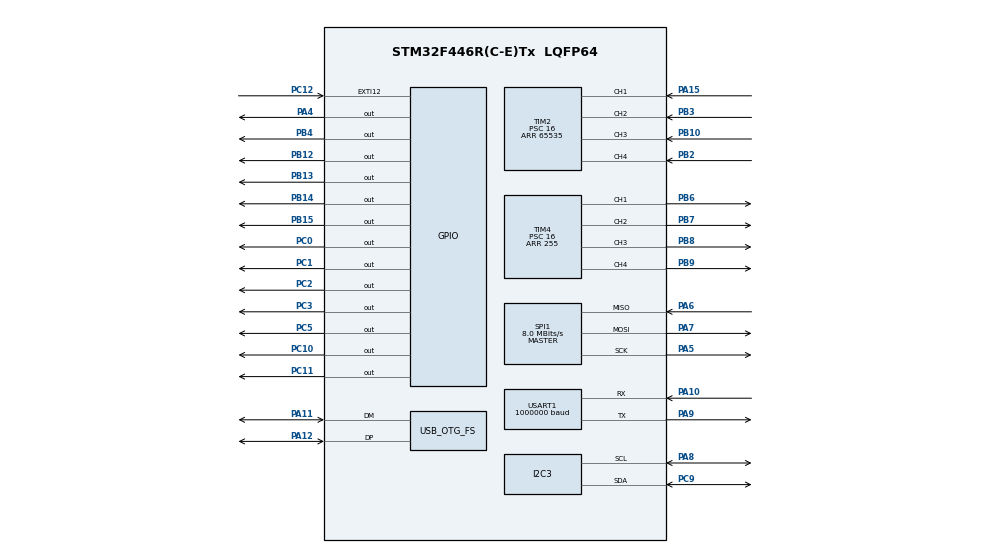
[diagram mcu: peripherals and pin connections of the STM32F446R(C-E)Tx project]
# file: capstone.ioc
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Mcu.Family=STM32F4
Mcu.Name=STM32F446R(C-E)Tx
Mcu.Package=LQFP64
NVIC.OTG_FS_IRQn=true\:0\:0\:false\:false\:true\:false\:true\:true
NVIC.PriorityGroup=NVIC_PRIORITYGROUP_4
NVIC.TIM1_UP_TIM10_IRQn=true\:0\:0\:false\:false\:true\:true\:true\:true
NVIC.TIM2_IRQn=true\:0\:0\:false\:false\:true\:true\:true\:true
NVIC.TIM7_IRQn=true\:0\:0\:false\:false\:true\:true\:true\:true
NVIC.TIM8_UP_TIM13_IRQn=true\:0\:0\:false\:false\:true\:true\:true\:true
PA10.Mode=Asynchronous
PA10.Signal=USART1_RX
PA11.Mode=Device_Only
PA11.Signal=USB_OTG_FS_DM
PA12.Mode=Device_Only
PA12.Signal=USB_OTG_FS_DP
PA13.Mode=Serial_Wire
PA13.Signal=SYS_JTMS-SWDIO
PA14.Mode=Serial_Wire
PA14.Signal=SYS_JTCK-SWCLK
PA15.Signal=S_TIM2_CH1_ETR
PA4.Signal=GPIO_Output
PA5.Mode=Full_Duplex_Master
PA5.Signal=SPI1_SCK
PA6.Mode=Full_Duplex_Master
PA6.Signal=SPI1_MISO
PA7.Mode=Full_Duplex_Master
PA7.Signal=SPI1_MOSI
PA8.Mode=I2C
PA8.Signal=I2C3_SCL
PA9.Mode=Asynchronous
PA9.Signal=USART1_TX
PB10.Signal=S_TIM2_CH3
PB12.Signal=GPIO_Output
PB13.Signal=GPIO_Output
PB14.Signal=GPIO_Output
PB15.Signal=GPIO_Output
PB2.Signal=S_TIM2_CH4
PB3.Signal=S_TIM2_CH2
PB4.Signal=GPIO_Output
PB6.Signal=S_TIM4_CH1
PB7.Signal=S_TIM4_CH2
PB8.Signal=S_TIM4_CH3
PB9.Signal=S_TIM4_CH4
PC0.Signal=GPIO_Output
PC1.Signal=GPIO_Output
PC10.Signal=GPIO_Output
PC11.Signal=GPIO_Output
PC12.Signal=GPXTI12
PC2.Signal=GPIO_Output
PC3.Signal=GPIO_Output
PC5.Signal=GPIO_Output
PC9.Mode=I2C
PC9.Signal=I2C3_SDA
PH0-OSC_IN.Mode=HSE-External-Clock-Source
PH0-OSC_IN.Signal=RCC_OSC_IN
PH1-OSC_OUT.Mode=HSE-External-Clock-Source
PH1-OSC_OUT.Signal=RCC_OSC_OUT
ProjectManager.HeapSize=0x200
ProjectManager.StackSize=0x400
ProjectManager.TargetToolchain=STM32CubeIDE
RCC.CortexFreq_Value=16000000
RCC.HSE_VALUE=12000000
RCC.PLLM=24
RCC.PLLN=216
RCC.PLLQ=3
RCC.PLLSourceVirtualString=RCC_PLLSOURCE_HSI
RCC.USBFreq_Value=48000000
RCC.VCOOutputFreq_Value=144000000
SH.S_TIM2_CH1_ETR.0=TIM2_CH1,Input_Capture1_from_TI1
SH.S_TIM2_CH2.0=TIM2_CH2,Input_Capture2_from_TI2
SH.S_TIM2_CH3.0=TIM2_CH3,Input_Capture3_from_TI3
SH.S_TIM2_CH4.0=TIM2_CH4,Input_Capture4_from_TI4
SH.S_TIM4_CH1.0=TIM4_CH1,PWM Generation1 CH1
SH.S_TIM4_CH2.0=TIM4_CH2,PWM Generation2 CH2
SH.S_TIM4_CH3.0=TIM4_CH3,PWM Generation3 CH3
SH.S_TIM4_CH4.0=TIM4_CH4,PWM Generation4 CH4
SPI1.CalculateBaudRate=8.0 MBits/s
SPI1.Direction=SPI_DIRECTION_2LINES
SPI1.Mode=SPI_MODE_MASTER
SPI1.VirtualType=VM_MASTER
TIM10.Period=800
TIM10.Prescaler=100
TIM13.Period=800
TIM13.Prescaler=200
TIM14.Prescaler=16
TIM2.Channel-Input_Capture1_from_TI1=TIM_CHANNEL_1
TIM2.Channel-Input_Capture2_from_TI2=TIM_CHANNEL_2
TIM2.Channel-Input_Capture3_from_TI3=TIM_CHANNEL_3
TIM2.Channel-Input_Capture4_from_TI4=TIM_CHANNEL_4
TIM2.Period=65535
TIM2.Prescaler=16
TIM4.Channel-PWM\ Generation1\ CH1=TIM_CHANNEL_1
TIM4.Channel-PWM\ Generation2\ CH2=TIM_CHANNEL_2
TIM4.Channel-PWM\ Generation3\ CH3=TIM_CHANNEL_3
TIM4.Channel-PWM\ Generation4\ CH4=TIM_CHANNEL_4
TIM4.Period=255
TIM4.Prescaler=16
TIM7.Period=800
TIM7.Prescaler=100
USART1.BaudRate=1000000
USART1.VirtualMode=VM_ASYNC
USB_DEVICE.CLASS_NAME_FS=CDC
USB_DEVICE.VirtualMode-CDC_FS=Cdc
USB_DEVICE.VirtualModeFS=Cdc_FS
USB_OTG_FS.VirtualMode=Device_Only
VP_TIM10_VS_ClockSourceINT.Mode=Enable_Timer
VP_TIM13_VS_ClockSourceINT.Mode=Enable_Timer
VP_TIM14_VS_ClockSourceINT.Mode=Enable_Timer
VP_TIM1_VS_ClockSourceINT.Mode=Internal
VP_TIM2_VS_ClockSourceINT.Mode=Internal
VP_TIM7_VS_ClockSourceINT.Mode=Enable_Timer
VP_USB_DEVICE_VS_USB_DEVICE_CDC_FS.Mode=CDC_FS
board=custom

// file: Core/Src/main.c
/* USER CODE BEGIN Header */
/**
  ******************************************************************************
  * @file           : main.c
  * @brief          : Main program body
  ******************************************************************************
  * @attention
  *
  * Copyright (c) 2024 STMicroelectronics.
  * All rights reserved.
  *
  * This software is licensed under terms that can be found in the LICENSE file
  * in the root directory of this software component.
  * If no LICENSE file comes with this software, it is provided AS-IS.
  *
  ******************************************************************************
  */
/* USER CODE END Header */
#include "main.h"
#include "usb_device.h"

/* USER CODE BEGIN Includes */

#include "string.h"
#include "usbd_cdc_if.h"
#include <math.h>
#include "accelerometer.h"
/* USER CODE END Includes */

/* USER CODE BEGIN PD */

#define UART_TRANSMIT_TIMEOUT 1000  // 1 second in milliseconds
#define UART_RECEIVE_TIMEOUT  1000  // 1 second in milliseconds

/* USER CODE END PD */

I2C_HandleTypeDef hi2c3;

SPI_HandleTypeDef hspi1;

TIM_HandleTypeDef htim1;
TIM_HandleTypeDef htim2;
TIM_HandleTypeDef htim4;
TIM_HandleTypeDef htim7;
TIM_HandleTypeDef htim10;
TIM_HandleTypeDef htim13;
TIM_HandleTypeDef htim14;

UART_HandleTypeDef huart1;

/* USER CODE BEGIN PV */
#define TRIG_PIN_1 GPIO_PIN_0
#define TRIG_PORT_1 GPIOC
#define TRIG_PIN_2 GPIO_PIN_1
#define TRIG_PORT_2 GPIOC
#define TRIG_PIN_3 GPIO_PIN_2
#define TRIG_PORT_3 GPIOC
#define TRIG_PIN_4 GPIO_PIN_3
#define TRIG_PORT_4 GPIOC

uint32_t IC_Val1_Left = 0;
uint32_t IC_Val2_Left = 0;
uint32_t IC_Val1_Right = 0;
uint32_t IC_Val2_Right = 0;
uint32_t IC_Val1_Front = 0;
uint32_t IC_Val2_Front = 0;
uint32_t IC_Val1_Back = 0;
uint32_t IC_Val2_Back = 0;
uint32_t Difference = 0;
uint8_t Is_First_Captured_1 = 0;  // is the first value captured
uint8_t Is_First_Captured_2 = 0;  // is the first value captured
uint8_t Is_First_Captured_3 = 0;  // is the first value captured
uint8_t Is_First_Captured_4 = 0;  // is the first value captured
float Distance_Left ;
float Distance_Right ;
float Distance_Back ;
float Distance_Front;
float avgDistLeft;
float avgDistRight;
float avgDistBack;
float avgDistFront;
uint8_t dataBuffer;

float temperature;
float yAcceleration;
float xAcceleration;
float zAcceleration;
float temp;
float roll;
float pitch;
float yaw;
float avgRoll;
float avgPitch;
float avgYaw;
float avgXAcceleration;
float avgYAcceleration;
float avgZAcceleration;
FIRFilter lpfAccZ;
FIRFilter lpfAccY;
FIRFilter lpfAccX;
FIRFilter lpfRoll;
FIRFilter lpfPitch;
FIRFilter lpfYaw;

gpio_Pin en_motor1 = { .gpioGroup = GPIOB, .gpioPin = GPIO_PIN_12 };
gpio_Pin en_motor2 = { .gpioGroup = GPIOB, .gpioPin = GPIO_PIN_13};
gpio_Pin en_motor3 = { .gpioGroup = GPIOB, .gpioPin = GPIO_PIN_14};
gpio_Pin en_motor4 = { .gpioGroup = GPIOB, .gpioPin = GPIO_PIN_15};
#define BUFFER_SIZE 128  // Adjust based on your needs

char data[BUFFER_SIZE];
uint8_t usbBuffer[128];

/* USER CODE END PV */

void SystemClock_Config(void);
static void MX_GPIO_Init(void);
static void MX_SPI1_Init(void);
static void MX_TIM1_Init(void);
static void MX_TIM2_Init(void);
static void MX_TIM4_Init(void);
static void MX_I2C3_Init(void);
static void MX_TIM7_Init(void);
static void MX_TIM14_Init(void);
static void MX_TIM10_Init(void);
static void MX_TIM13_Init(void);
static void MX_USART1_UART_Init(void);
/* USER CODE BEGIN PFP */
void stopMotors();
void left();
void right();
void forward();
void reverse();
uint8_t calculate_checksum(uint8_t *packet, int length);
void HCSR04_Read_Right();
void HCSR04_Read_Left();
void HCSR04_Read_Front();
void HCSR04_Read_Back();
void setServoPosition(uint8_t address, uint16_t position) ;

/* USER CODE END PFP */

/* USER CODE BEGIN 0 */
void HAL_TIM_PeriodElapsedCallback(TIM_HandleTypeDef *htim){
	if(htim == &htim7){
		accTask();
	}
	else if(htim == &htim10){
//		readGyro();
		readTemp();
	}
	else if(htim == &htim13){
//		HCSR04_Read_Back();
//		HCSR04_Read_Right();
//		HCSR04_Read_Left();
//		HCSR04_Read_Front();

	}
}

/*************************************************************
                      MOTOR CODE
**************************************************************/
//void motorInit(){
//	//motor timers start
//	HAL_TIM_Base_Start(&htim3);
//	HAL_TIM_PWM_Start(&htim3, TIM_CHANNEL_1);
//	HAL_TIM_PWM_Start(&htim3, TIM_CHANNEL_2);
//	HAL_TIM_PWM_Start(&htim3, TIM_CHANNEL_3);
//	HAL_TIM_PWM_Start(&htim3, TIM_CHANNEL_4);
//
//	htim3.Instance->CCR1 = 0; // M2 FWD
//	htim3.Instance->CCR2 = 0; // M2 REV
//	htim3.Instance->CCR3 = 0; // M1 FWD
//	htim3.Instance->CCR4 = 0; // M1 FWD
//
//	HAL_TIM_Base_Start(&htim4);
//	HAL_TIM_PWM_Start(&htim4, TIM_CHANNEL_1);
//	HAL_TIM_PWM_Start(&htim4, TIM_CHANNEL_2);
//	HAL_TIM_PWM_Start(&htim4, TIM_CHANNEL_3);
//	HAL_TIM_PWM_Start(&htim4, TIM_CHANNEL_4);
//
//	htim4.Instance->CCR1 = 0; // M3 FWD
//	htim4.Instance->CCR2 = 0; // M3 FWD
//	htim4.Instance->CCR3 = 0; //
//	htim4.Instance->CCR4 = 0; // M4 FWD
//}
//
//
//void forward(){
//	HAL_GPIO_WritePin(GPIOB, GPIO_PIN_12, GPIO_PIN_SET);  // en1
//	HAL_GPIO_WritePin(GPIOB, GPIO_PIN_13, GPIO_PIN_SET);  // en2
//	HAL_GPIO_WritePin(GPIOB, GPIO_PIN_14, GPIO_PIN_SET);  // en3
//	HAL_GPIO_WritePin(GPIOB, GPIO_PIN_15, GPIO_PIN_SET);  // en4
//
//	htim3.Instance->CCR1 = 150; // M2 FWD
//	htim3.Instance->CCR2 = 0; // M2 REV
//	htim3.Instance->CCR3 = 0; // M1 FWD
//	htim3.Instance->CCR4 = 0; // M1 REV
//
//	htim4.Instance->CCR1 = 150; // M3 FWD
//	htim4.Instance->CCR2 = 0; // M3 REV
//	htim4.Instance->CCR3 = 150; // M4 FWD
//	htim4.Instance->CCR4 = 0; // M4 REV
//}
//
//void reverse(){
//	HAL_GPIO_WritePin(GPIOB, GPIO_PIN_12, GPIO_PIN_SET);  // en1
//	HAL_GPIO_WritePin(GPIOB, GPIO_PIN_13, GPIO_PIN_SET);  // en2
//	HAL_GPIO_WritePin(GPIOB, GPIO_PIN_14, GPIO_PIN_SET);  // en3
//	HAL_GPIO_WritePin(GPIOB, GPIO_PIN_15, GPIO_PIN_SET);  // en4
//
//	htim3.Instance->CCR1 = 0; // M2 FWD
//	htim3.Instance->CCR2 = 150; // M2 REV
//	htim3.Instance->CCR3 = 0; // M1 FWD
//	htim3.Instance->CCR4 = 0; // M1 REV
//
//	htim4.Instance->CCR1 = 0; // M3 FWD
//	htim4.Instance->CCR2 = 150; // M3 REV
//	htim4.Instance->CCR3 = 0; // M4 FWD
//	htim4.Instance->CCR4 = 150; // M4 REV
//}
//
//void left(){
//	HAL_GPIO_WritePin(GPIOB, GPIO_PIN_12, GPIO_PIN_SET);  // en1
//	HAL_GPIO_WritePin(GPIOB, GPIO_PIN_13, GPIO_PIN_SET);  // en2
//	HAL_GPIO_WritePin(GPIOB, GPIO_PIN_14, GPIO_PIN_SET);  // en3
//	HAL_GPIO_WritePin(GPIOB, GPIO_PIN_15, GPIO_PIN_SET);  // en4
//
//	htim3.Instance->CCR1 = 0; // M2 FWD
//	htim3.Instance->CCR2 = 150; // M2 REV
//	htim3.Instance->CCR3 = 0; // M1 FWD
//	htim3.Instance->CCR4 = 0; // M1 REV
//
//	htim4.Instance->CCR1 = 150; // M3 FWD
//	htim4.Instance->CCR2 = 0; // M3 REV
//	htim4.Instance->CCR3 = 150; // M4 FWD
//	htim4.Instance->CCR4 = 0; // M4 REV
//}
//
//void right(){
//	HAL_GPIO_WritePin(GPIOB, GPIO_PIN_12, GPIO_PIN_SET);  // en1
//	HAL_GPIO_WritePin(GPIOB, GPIO_PIN_13, GPIO_PIN_SET);  // en2
//	HAL_GPIO_WritePin(GPIOB, GPIO_PIN_14, GPIO_PIN_SET);  // en3
//	HAL_GPIO_WritePin(GPIOB, GPIO_PIN_15, GPIO_PIN_SET);  // en4
//
//	htim3.Instance->CCR1 = 150; // M2 FWD
//	htim3.Instance->CCR2 = 0; // M2 REV
//	htim3.Instance->CCR3 = 150; // M1 FWD
//	htim3.Instance->CCR4 = 0; // M1 REV
//
//	htim4.Instance->CCR1 = 0; // M3 FWD
//	htim4.Instance->CCR2 = 150; // M3 REV
//	htim4.Instance->CCR3 = 0; // M4 FWD
//	htim4.Instance->CCR4 = 150; // M4 REV
//}
//
//void stopMotors(){
//	HAL_GPIO_WritePin(GPIOB, GPIO_PIN_12, GPIO_PIN_RESET);  // en1
//	HAL_GPIO_WritePin(GPIOB, GPIO_PIN_13, GPIO_PIN_RESET);  // en2
//	HAL_GPIO_WritePin(GPIOB, GPIO_PIN_14, GPIO_PIN_RESET);  // en3
//	HAL_GPIO_WritePin(GPIOB, GPIO_PIN_15, GPIO_PIN_RESET);  // en4
//
//	htim3.Instance->CCR1 = 0; // M2 FWD
//	htim3.Instance->CCR2 = 0; // M2 REV
//	htim3.Instance->CCR3 = 0; // M1 FWD
//	htim3.Instance->CCR4 = 0; // M1 REV
//
//	htim4.Instance->CCR1 = 0; // M3 FWD
//	htim4.Instance->CCR2 = 0; // M3 REV
//	htim4.Instance->CCR3 = 0; // M4 FWD
//	htim4.Instance->CCR4 = 0; // M4 REV
//}

/*************************************************************
                      SERVO CODE
**************************************************************/

/**
 *
 *
 * WRITING TO A REGISTER IS 0X03
 * ------------------------------------------------------------------------------------------------------
 *			HEADER			|	ID		|	LEN			|	INST	|	PARAM1	|	PARAM2	|	CHECKSUM
 * ------------------------------------------------------------------------------------------------------
 * 				|			|			|				|			|			|			|
 *		0XFF  	|	0XFF	|	0X??	|	PARAM + 2	|	 0X03	|	X19		|	0X01	|	0XDC
 *				|			|			|				|			|			|			|
 * ------------------------------------------------------------------------------------------------------
 * **/
uint8_t calculate_checksum(uint8_t *packet, int length) {
    unsigned int sum = 0;
    for(int i = 2; i < length - 1; i++) {  // Start from ID (skip 0xFF 0xFF)
        sum += packet[i];
    }
    return (uint8_t)(255 - (sum % 256));
}

void servoCommand(){
    uint8_t motors[] = {0x02, 0x06, 0x08};  // Array of motor IDs
    uint16_t motor2Angle = (usbBuffer[2]<<8) | usbBuffer[1];
    uint16_t motor6Angle = (usbBuffer[4]<<8) | usbBuffer[3];
    uint16_t motor8Angle = (usbBuffer[6]<<8) | usbBuffer[5];

    // Set positions for each motor
    setServoPosition(motors[0], motor2Angle);
    HAL_Delay(1);  // Small delay between commands
    setServoPosition(motors[1], motor6Angle);
    HAL_Delay(1);
    setServoPosition(motors[2], motor8Angle);
    return;
}

void setServoPosition(uint8_t address, uint16_t position) {
    uint8_t sendBuffer[9] = {0xFF, 0xFF, address, 0x05, 0x03, 0x1E,
                            position & 0xFF,        // Low byte
                            (position >> 8) & 0xFF, // High byte
                            0x00};
    sendBuffer[8] = calculate_checksum(sendBuffer, sizeof(sendBuffer));

    HAL_GPIO_WritePin(GPIOB, GPIO_PIN_4, GPIO_PIN_SET);
    HAL_UART_Transmit(&huart1, sendBuffer, sizeof(sendBuffer), 0xFFFF);
    HAL_GPIO_WritePin(GPIOB, GPIO_PIN_4, GPIO_PIN_RESET);
}

void turnServoLed(uint8_t address) {
    uint8_t sendBuffer[8]= {0xFF, 0xFF, address, 0x04, 0x03, 0x19, 0x01, 0x00};
    sendBuffer[7] = calculate_checksum(sendBuffer, sizeof(sendBuffer));

    HAL_GPIO_WritePin(GPIOB, GPIO_PIN_4, GPIO_PIN_SET);
    HAL_UART_Transmit(&huart1, sendBuffer, sizeof(sendBuffer), 0xFFFF);
    HAL_GPIO_WritePin(GPIOB, GPIO_PIN_4, GPIO_PIN_RESET);
}

void setCWAngleLimit(uint8_t address, uint16_t angle) {
    uint8_t sendBuffer[9] = {0xFF, 0xFF, address, 0x05, 0x03, 0x06,
                            angle & 0xFF,        // Low byte
                            (angle >> 8) & 0xFF, // High byte
                            0x00};
    sendBuffer[8] = calculate_checksum(sendBuffer, sizeof(sendBuffer));

    HAL_GPIO_WritePin(GPIOB, GPIO_PIN_4, GPIO_PIN_SET);
    HAL_UART_Transmit(&huart1, sendBuffer, sizeof(sendBuffer), 0xFFFF);
    HAL_GPIO_WritePin(GPIOB, GPIO_PIN_4, GPIO_PIN_RESET);
}

void setCCWAngleLimit(uint8_t address, uint16_t angle) {
    uint8_t sendBuffer[9] = {0xFF, 0xFF, address, 0x05, 0x03, 0x08,
                            angle & 0xFF,        // Low byte
                            (angle >> 8) & 0xFF, // High byte
                            0x00};
    sendBuffer[8] = calculate_checksum(sendBuffer, sizeof(sendBuffer));

    HAL_GPIO_WritePin(GPIOB, GPIO_PIN_4, GPIO_PIN_SET);
    HAL_UART_Transmit(&huart1, sendBuffer, sizeof(sendBuffer), 0xFFFF);
    HAL_GPIO_WritePin(GPIOB, GPIO_PIN_4, GPIO_PIN_RESET);
}

void setMovingSpeed(uint8_t address, uint16_t speed) {
    uint8_t sendBuffer[9] = {0xFF, 0xFF, address, 0x05, 0x03, 0x20,
                            speed & 0xFF,        // Low byte
                            (speed >> 8) & 0xFF, // High byte
                            0x00};
    sendBuffer[8] = calculate_checksum(sendBuffer, sizeof(sendBuffer));

    HAL_GPIO_WritePin(GPIOB, GPIO_PIN_4, GPIO_PIN_SET);
    HAL_UART_Transmit(&huart1, sendBuffer, sizeof(sendBuffer), 0xFFFF);
    HAL_GPIO_WritePin(GPIOB, GPIO_PIN_4, GPIO_PIN_RESET);
}

void setTorqueLimit(uint8_t address, uint16_t torque) {
    uint8_t sendBuffer[9] = {0xFF, 0xFF, address, 0x05, 0x03, 0x22,
                            torque & 0xFF,        // Low byte
                            (torque >> 8) & 0xFF, // High byte
                            0x00};
    sendBuffer[8] = calculate_checksum(sendBuffer, sizeof(sendBuffer));

    HAL_GPIO_WritePin(GPIOB, GPIO_PIN_4, GPIO_PIN_SET);
    HAL_UART_Transmit(&huart1, sendBuffer, sizeof(sendBuffer), 0xFFFF);
    HAL_GPIO_WritePin(GPIOB, GPIO_PIN_4, GPIO_PIN_RESET);
}

void setMaxTorque(uint8_t address, uint16_t maxTorque) {
    uint8_t sendBuffer[9] = {0xFF, 0xFF, address, 0x05, 0x03, 0x0E,
                            maxTorque & 0xFF,        // Low byte
                            (maxTorque >> 8) & 0xFF, // High byte
                            0x00};
    sendBuffer[8] = calculate_checksum(sendBuffer, sizeof(sendBuffer));

    HAL_GPIO_WritePin(GPIOB, GPIO_PIN_4, GPIO_PIN_SET);
    HAL_UART_Transmit(&huart1, sendBuffer, sizeof(sendBuffer), 0xFFFF);
    HAL_GPIO_WritePin(GPIOB, GPIO_PIN_4, GPIO_PIN_RESET);
}

void setTorqueEnable(uint8_t address, uint8_t enable) {
    uint8_t sendBuffer[8] = {0xFF, 0xFF, address, 0x04, 0x03, 0x18, enable, 0x00};
    sendBuffer[7] = calculate_checksum(sendBuffer, sizeof(sendBuffer));

    HAL_GPIO_WritePin(GPIOB, GPIO_PIN_4, GPIO_PIN_SET);
    HAL_UART_Transmit(&huart1, sendBuffer, sizeof(sendBuffer), 0xFFFF);
    HAL_GPIO_WritePin(GPIOB, GPIO_PIN_4, GPIO_PIN_RESET);
}

/*************************************************************
                      STEREOSENSOR CODE
**************************************************************/

static uint8_t Is_First_Captured_Front = 0;
static uint8_t Is_First_Captured_Right = 0;
static uint8_t Is_First_Captured_Left = 0;
static uint8_t Is_First_Captured_Back = 0;

void HAL_TIM_IC_CaptureCallback(TIM_HandleTypeDef* htim)
{
    uint32_t Difference = 0;

    // Front Sensor - Channel 1
    if (htim->Channel == HAL_TIM_ACTIVE_CHANNEL_1)
    {
        if (Is_First_Captured_Front == 0) // First rising edge
        {
            IC_Val1_Front = HAL_TIM_ReadCapturedValue(htim, TIM_CHANNEL_1);
            Is_First_Captured_Front = 1;
            // Change polarity to falling edge
            __HAL_TIM_SET_CAPTUREPOLARITY(htim, TIM_CHANNEL_1, TIM_INPUTCHANNELPOLARITY_FALLING);
        }
        else if (Is_First_Captured_Front == 1) // Falling edge
        {
            IC_Val2_Front = HAL_TIM_ReadCapturedValue(htim, TIM_CHANNEL_1);
            __HAL_TIM_SET_COUNTER(htim, 0);

            if (IC_Val2_Front > IC_Val1_Front)
                Difference = IC_Val2_Front - IC_Val1_Front;
            else if (IC_Val1_Front > IC_Val2_Front)
                Difference = (0xffff - IC_Val1_Front) + IC_Val2_Front;

            Distance_Front = (float)Difference * .034/2;
            Is_First_Captured_Front = 0;

            // Reset for next measurement
            __HAL_TIM_SET_CAPTUREPOLARITY(htim, TIM_CHANNEL_1, TIM_INPUTCHANNELPOLARITY_RISING);
            HAL_TIM_IC_Stop_IT(htim, TIM_CHANNEL_1);
        }
    }

    // Right Sensor - Channel 2
    else if (htim->Channel == HAL_TIM_ACTIVE_CHANNEL_2)
    {
        if (Is_First_Captured_Right == 0)
        {
            IC_Val1_Right = HAL_TIM_ReadCapturedValue(htim, TIM_CHANNEL_2);
            Is_First_Captured_Right = 1;
            __HAL_TIM_SET_CAPTUREPOLARITY(htim, TIM_CHANNEL_2, TIM_INPUTCHANNELPOLARITY_FALLING);
        }
        else if (Is_First_Captured_Right == 1)
        {
            IC_Val2_Right = HAL_TIM_ReadCapturedValue(htim, TIM_CHANNEL_2);
            __HAL_TIM_SET_COUNTER(htim, 0);

            if (IC_Val2_Right > IC_Val1_Right)
                Difference = IC_Val2_Right - IC_Val1_Right;
            else if (IC_Val1_Right > IC_Val2_Right)
                Difference = (0xffff - IC_Val1_Right) + IC_Val2_Right;

            Distance_Right = (float)Difference * .034/2;
            Is_First_Captured_Right = 0;

            __HAL_TIM_SET_CAPTUREPOLARITY(htim, TIM_CHANNEL_2, TIM_INPUTCHANNELPOLARITY_RISING);
            HAL_TIM_IC_Stop_IT(htim, TIM_CHANNEL_2);
        }
    }

    // Left Sensor - Channel 3
    else if (htim->Channel == HAL_TIM_ACTIVE_CHANNEL_3)
    {
        if (Is_First_Captured_Left == 0)
        {
            IC_Val1_Left = HAL_TIM_ReadCapturedValue(htim, TIM_CHANNEL_3);
            Is_First_Captured_Left = 1;
            __HAL_TIM_SET_CAPTUREPOLARITY(htim, TIM_CHANNEL_3, TIM_INPUTCHANNELPOLARITY_FALLING);
        }
        else if (Is_First_Captured_Left == 1)
        {
            IC_Val2_Left = HAL_TIM_ReadCapturedValue(htim, TIM_CHANNEL_3);
            __HAL_TIM_SET_COUNTER(htim, 0);

            if (IC_Val2_Left > IC_Val1_Left)
                Difference = IC_Val2_Left - IC_Val1_Left;
            else if (IC_Val1_Left > IC_Val2_Left)
                Difference = (0xffff - IC_Val1_Left) + IC_Val2_Left;

            Distance_Left = (float)Difference * .034/2;
            Is_First_Captured_Left = 0;

            __HAL_TIM_SET_CAPTUREPOLARITY(htim, TIM_CHANNEL_3, TIM_INPUTCHANNELPOLARITY_RISING);
            HAL_TIM_IC_Stop_IT(htim, TIM_CHANNEL_3);
        }
    }

    // Back Sensor - Channel 4
    else if (htim->Channel == HAL_TIM_ACTIVE_CHANNEL_4)
    {
        if (Is_First_Captured_Back == 0)
        {
            IC_Val1_Back = HAL_TIM_ReadCapturedValue(htim, TIM_CHANNEL_4);
            Is_First_Captured_Back = 1;
            __HAL_TIM_SET_CAPTUREPOLARITY(htim, TIM_CHANNEL_4, TIM_INPUTCHANNELPOLARITY_FALLING);
        }
        else if (Is_First_Captured_Back == 1)
        {
            IC_Val2_Back = HAL_TIM_ReadCapturedValue(htim, TIM_CHANNEL_4);
            __HAL_TIM_SET_COUNTER(htim, 0);

            if (IC_Val2_Back > IC_Val1_Back)
                Difference = IC_Val2_Back - IC_Val1_Back;
            else if (IC_Val1_Back > IC_Val2_Back)
                Difference = (0xffff - IC_Val1_Back) + IC_Val2_Back;

            Distance_Back = (float)Difference * .034/2;
            Is_First_Captured_Back = 0;

            __HAL_TIM_SET_CAPTUREPOLARITY(htim, TIM_CHANNEL_4, TIM_INPUTCHANNELPOLARITY_RISING);
            HAL_TIM_IC_Stop_IT(htim, TIM_CHANNEL_4);
        }
    }
}

float approxRollingAverage(float avg, float new, float weight){
  return (((weight - 1.0f) / weight) * avg) + ((1.0f / weight) * new);
}

void delay_us (uint16_t us)
{
  __HAL_TIM_SET_COUNTER(&htim14, 0);  // set the counter value a 0
  while (__HAL_TIM_GET_COUNTER(&htim14) < us);  // wait for the counter to reach the us input in the parameter
}

void HCSR04_Read_Front (void)
{
  HAL_GPIO_WritePin(TRIG_PORT_1, TRIG_PIN_1, GPIO_PIN_SET);  // pull the TRIG pin HIGH
  delay_us(10);  // wait for 10 us
  HAL_GPIO_WritePin(TRIG_PORT_1, TRIG_PIN_1, GPIO_PIN_RESET);  // pull the TRIG pin low
  HAL_TIM_IC_Start_IT(&htim2, TIM_CHANNEL_1);
}

void HCSR04_Read_Right (void)
{
  HAL_GPIO_WritePin(TRIG_PORT_2, TRIG_PIN_2, GPIO_PIN_SET);  // pull the TRIG pin HIGH
  delay_us(10);  // wait for 10 us
  HAL_GPIO_WritePin(TRIG_PORT_2, TRIG_PIN_2, GPIO_PIN_RESET);  // pull the TRIG pin low
  HAL_TIM_IC_Start_IT(&htim2, TIM_CHANNEL_2);
}

void HCSR04_Read_Left (void)
{
  HAL_GPIO_WritePin(TRIG_PORT_3, TRIG_PIN_3, GPIO_PIN_SET);  // pull the TRIG pin HIGH
  delay_us(10);  // wait for 10 us
  HAL_GPIO_WritePin(TRIG_PORT_3, TRIG_PIN_3, GPIO_PIN_RESET);  // pull the TRIG pin low
  HAL_TIM_IC_Start_IT(&htim2, TIM_CHANNEL_3);
}

void HCSR04_Read_Back (void)
{
  HAL_GPIO_WritePin(TRIG_PORT_4, TRIG_PIN_4, GPIO_PIN_SET);  // pull the TRIG pin HIGH
  delay_us(10);  // wait for 10 us
  HAL_GPIO_WritePin(TRIG_PORT_4, TRIG_PIN_4, GPIO_PIN_RESET);  // pull the TRIG pin low
  HAL_TIM_IC_Start_IT(&htim2, TIM_CHANNEL_4);
}

/* USER CODE END 0 */

int main(void)
{

  /* MCU Configuration--------------------------------------------------------*/

  /* Reset of all peripherals, Initializes the Flash interface and the Systick. */
  HAL_Init();

  /* Configure the system clock */
  SystemClock_Config();

  /* Initialize all configured peripherals */
  MX_GPIO_Init();
  MX_SPI1_Init();
  MX_TIM1_Init();
  MX_TIM2_Init();
  MX_TIM4_Init();
  MX_I2C3_Init();
  MX_TIM7_Init();
  MX_TIM14_Init();
  MX_TIM10_Init();
  MX_TIM13_Init();
  MX_USB_DEVICE_Init();
  MX_USART1_UART_Init();
  /* USER CODE BEGIN 2 */
  char rxBuffer[8];

  char txBuffer[8];

//  motorInit();
  accInit();
  firFilterInit(&lpfAccZ);
  firFilterInit(&lpfAccY);
  firFilterInit(&lpfAccX);

//  HAL_TIM_Base_Start(&htim14); // ultrasonic timing
  HAL_TIM_Base_Start_IT(&htim7); // accelerometer sampling timer
//  HAL_TIM_Base_Start_IT(&htim10); // gyro sampling timer
//  HAL_TIM_Base_Start_IT(&htim13); // ultrasonic sampling timer

  char * newData[64];
  int blink = 1;
  char * updated;
  uint8_t returnValue[6];

  uint8_t motors[] = {0x02, 0x06, 0x08};  // Array of motor IDs

  // Set limits for each motor
  for(int i = 0; i < 3; i++) {
      // Set CW (minimum) limit to 0
      setCWAngleLimit(motors[i], 0);
	  HAL_Delay (50);

      // Set CCW (maximum) limit to 1023 (300 degrees)
      setCCWAngleLimit(motors[i], 1023);
	  HAL_Delay (50);
      setTorqueLimit(motors[i], 1023);
	  HAL_Delay (50);
      setTorqueEnable(motors[i], 1);
	  HAL_Delay (50);
      setMaxTorque(motors[i], 1023);
	  HAL_Delay (50);
      setMovingSpeed(motors[i], 0x002F);
	  HAL_Delay (50);
  }

  /* USER CODE END 2 */

  /* Infinite loop */
  while (1)
  {

    /* USER CODE BEGIN 3 */
//	  for(int i = 0; i < 3; i++) {
//
//		  setTorqueEnable(motors[i], 1, returnValue);
//	  }
	  turnServoLed(0x06);
	  HAL_Delay (50);
	  turnServoLed(0x02);
	  HAL_Delay (50);
	  turnServoLed(0x08);
	  HAL_Delay (50);
	  //
	  int result;
	  memset(data, 0, BUFFER_SIZE);
	  result = snprintf(data, BUFFER_SIZE, "AvgX: %d.%02d, AvgY: %d.%02d, AvgZ: %d.%02d, F: %d.%02d, L: %d.%02d, R: %d.%02d, B: %d.%02d\n",
			  	  	  	 (int)avgXAcceleration,
			  	         (int)((avgXAcceleration - (int)avgXAcceleration) * 100),
			  	  	  	 (int)avgYAcceleration,
			  	         (int)((avgYAcceleration - (int)avgYAcceleration) * 100),
	                     (int)avgZAcceleration,
	                     (int)((avgZAcceleration - (int)avgZAcceleration) * 100),
	                     (int)Distance_Front,
	                     (int)((Distance_Front - (int)Distance_Front) * 100),
	                     (int)Distance_Left,
	                     (int)((Distance_Left - (int)Distance_Left) * 100),
	                     (int)Distance_Right,
	                     (int)((Distance_Right - (int)Distance_Right) * 100),
	                     (int)Distance_Back,
	                     (int)((Distance_Back - (int)Distance_Back) * 100));

	  CDC_Transmit_FS(data, sizeof(data));
	  HAL_Delay (1000);
  }
  /* USER CODE END 3 */
}

void SystemClock_Config(void)
{
  RCC_OscInitTypeDef RCC_OscInitStruct = {0};
  RCC_ClkInitTypeDef RCC_ClkInitStruct = {0};

  /** Configure the main internal regulator output voltage
  */
  __HAL_RCC_PWR_CLK_ENABLE();
  __HAL_PWR_VOLTAGESCALING_CONFIG(PWR_REGULATOR_VOLTAGE_SCALE3);

  /** Initializes the RCC Oscillators according to the specified parameters
  * in the RCC_OscInitTypeDef structure.
  */
  RCC_OscInitStruct.OscillatorType = RCC_OSCILLATORTYPE_HSI;
  RCC_OscInitStruct.HSIState = RCC_HSI_ON;
  RCC_OscInitStruct.HSICalibrationValue = RCC_HSICALIBRATION_DEFAULT;
  RCC_OscInitStruct.PLL.PLLState = RCC_PLL_ON;
  RCC_OscInitStruct.PLL.PLLSource = RCC_PLLSOURCE_HSI;
  RCC_OscInitStruct.PLL.PLLM = 24;
  RCC_OscInitStruct.PLL.PLLN = 216;
  RCC_OscInitStruct.PLL.PLLP = RCC_PLLP_DIV2;
  RCC_OscInitStruct.PLL.PLLQ = 3;
  RCC_OscInitStruct.PLL.PLLR = 2;
  if (HAL_RCC_OscConfig(&RCC_OscInitStruct) != HAL_OK)
  {
    Error_Handler();
  }

  /** Initializes the CPU, AHB and APB buses clocks
  */
  RCC_ClkInitStruct.ClockType = RCC_CLOCKTYPE_HCLK|RCC_CLOCKTYPE_SYSCLK
                              |RCC_CLOCKTYPE_PCLK1|RCC_CLOCKTYPE_PCLK2;
  RCC_ClkInitStruct.SYSCLKSource = RCC_SYSCLKSOURCE_HSI;
  RCC_ClkInitStruct.AHBCLKDivider = RCC_SYSCLK_DIV1;
  RCC_ClkInitStruct.APB1CLKDivider = RCC_HCLK_DIV1;
  RCC_ClkInitStruct.APB2CLKDivider = RCC_HCLK_DIV1;

  if (HAL_RCC_ClockConfig(&RCC_ClkInitStruct, FLASH_LATENCY_0) != HAL_OK)
  {
    Error_Handler();
  }
}

static void MX_I2C3_Init(void)
{

  hi2c3.Instance = I2C3;
  hi2c3.Init.ClockSpeed = 100000;
  hi2c3.Init.DutyCycle = I2C_DUTYCYCLE_2;
  hi2c3.Init.OwnAddress1 = 0;
  hi2c3.Init.AddressingMode = I2C_ADDRESSINGMODE_7BIT;
  hi2c3.Init.DualAddressMode = I2C_DUALADDRESS_DISABLE;
  hi2c3.Init.OwnAddress2 = 0;
  hi2c3.Init.GeneralCallMode = I2C_GENERALCALL_DISABLE;
  hi2c3.Init.NoStretchMode = I2C_NOSTRETCH_DISABLE;
  if (HAL_I2C_Init(&hi2c3) != HAL_OK)
  {
    Error_Handler();
  }

}

static void MX_SPI1_Init(void)
{

  /* SPI1 parameter configuration*/
  hspi1.Instance = SPI1;
  hspi1.Init.Mode = SPI_MODE_MASTER;
  hspi1.Init.Direction = SPI_DIRECTION_2LINES;
  hspi1.Init.DataSize = SPI_DATASIZE_8BIT;
  hspi1.Init.CLKPolarity = SPI_POLARITY_LOW;
  hspi1.Init.CLKPhase = SPI_PHASE_1EDGE;
  hspi1.Init.NSS = SPI_NSS_SOFT;
  hspi1.Init.BaudRatePrescaler = SPI_BAUDRATEPRESCALER_2;
  hspi1.Init.FirstBit = SPI_FIRSTBIT_MSB;
  hspi1.Init.TIMode = SPI_TIMODE_DISABLE;
  hspi1.Init.CRCCalculation = SPI_CRCCALCULATION_DISABLE;
  hspi1.Init.CRCPolynomial = 10;
  if (HAL_SPI_Init(&hspi1) != HAL_OK)
  {
    Error_Handler();
  }

}

static void MX_TIM1_Init(void)
{

  TIM_ClockConfigTypeDef sClockSourceConfig = {0};
  TIM_MasterConfigTypeDef sMasterConfig = {0};

  htim1.Instance = TIM1;
  htim1.Init.Prescaler = 0;
  htim1.Init.CounterMode = TIM_COUNTERMODE_UP;
  htim1.Init.Period = 65535;
  htim1.Init.ClockDivision = TIM_CLOCKDIVISION_DIV1;
  htim1.Init.RepetitionCounter = 0;
  htim1.Init.AutoReloadPreload = TIM_AUTORELOAD_PRELOAD_DISABLE;
  if (HAL_TIM_Base_Init(&htim1) != HAL_OK)
  {
    Error_Handler();
  }
  sClockSourceConfig.ClockSource = TIM_CLOCKSOURCE_INTERNAL;
  if (HAL_TIM_ConfigClockSource(&htim1, &sClockSourceConfig) != HAL_OK)
  {
    Error_Handler();
  }
  sMasterConfig.MasterOutputTrigger = TIM_TRGO_RESET;
  sMasterConfig.MasterSlaveMode = TIM_MASTERSLAVEMODE_DISABLE;
  if (HAL_TIMEx_MasterConfigSynchronization(&htim1, &sMasterConfig) != HAL_OK)
  {
    Error_Handler();
  }

}

static void MX_TIM2_Init(void)
{

  TIM_ClockConfigTypeDef sClockSourceConfig = {0};
  TIM_MasterConfigTypeDef sMasterConfig = {0};
  TIM_IC_InitTypeDef sConfigIC = {0};

  htim2.Instance = TIM2;
  htim2.Init.Prescaler = 16;
  htim2.Init.CounterMode = TIM_COUNTERMODE_UP;
  htim2.Init.Period = 65535;
  htim2.Init.ClockDivision = TIM_CLOCKDIVISION_DIV1;
  htim2.Init.AutoReloadPreload = TIM_AUTORELOAD_PRELOAD_DISABLE;
  if (HAL_TIM_Base_Init(&htim2) != HAL_OK)
  {
    Error_Handler();
  }
  sClockSourceConfig.ClockSource = TIM_CLOCKSOURCE_INTERNAL;
  if (HAL_TIM_ConfigClockSource(&htim2, &sClockSourceConfig) != HAL_OK)
  {
    Error_Handler();
  }
  if (HAL_TIM_IC_Init(&htim2) != HAL_OK)
  {
    Error_Handler();
  }
  sMasterConfig.MasterOutputTrigger = TIM_TRGO_RESET;
  sMasterConfig.MasterSlaveMode = TIM_MASTERSLAVEMODE_DISABLE;
  if (HAL_TIMEx_MasterConfigSynchronization(&htim2, &sMasterConfig) != HAL_OK)
  {
    Error_Handler();
  }
  sConfigIC.ICPolarity = TIM_INPUTCHANNELPOLARITY_RISING;
  sConfigIC.ICSelection = TIM_ICSELECTION_DIRECTTI;
  sConfigIC.ICPrescaler = TIM_ICPSC_DIV1;
  sConfigIC.ICFilter = 0;
  if (HAL_TIM_IC_ConfigChannel(&htim2, &sConfigIC, TIM_CHANNEL_1) != HAL_OK)
  {
    Error_Handler();
  }
  if (HAL_TIM_IC_ConfigChannel(&htim2, &sConfigIC, TIM_CHANNEL_2) != HAL_OK)
  {
    Error_Handler();
  }
  if (HAL_TIM_IC_ConfigChannel(&htim2, &sConfigIC, TIM_CHANNEL_3) != HAL_OK)
  {
    Error_Handler();
  }
  if (HAL_TIM_IC_ConfigChannel(&htim2, &sConfigIC, TIM_CHANNEL_4) != HAL_OK)
  {
    Error_Handler();
  }

}

static void MX_TIM4_Init(void)
{

  TIM_MasterConfigTypeDef sMasterConfig = {0};
  TIM_OC_InitTypeDef sConfigOC = {0};

  htim4.Instance = TIM4;
  htim4.Init.Prescaler = 16;
  htim4.Init.CounterMode = TIM_COUNTERMODE_UP;
  htim4.Init.Period = 255;
  htim4.Init.ClockDivision = TIM_CLOCKDIVISION_DIV1;
  htim4.Init.AutoReloadPreload = TIM_AUTORELOAD_PRELOAD_DISABLE;
  if (HAL_TIM_PWM_Init(&htim4) != HAL_OK)
  {
    Error_Handler();
  }
  sMasterConfig.MasterOutputTrigger = TIM_TRGO_RESET;
  sMasterConfig.MasterSlaveMode = TIM_MASTERSLAVEMODE_DISABLE;
  if (HAL_TIMEx_MasterConfigSynchronization(&htim4, &sMasterConfig) != HAL_OK)
  {
    Error_Handler();
  }
  sConfigOC.OCMode = TIM_OCMODE_PWM1;
  sConfigOC.Pulse = 0;
  sConfigOC.OCPolarity = TIM_OCPOLARITY_HIGH;
  sConfigOC.OCFastMode = TIM_OCFAST_DISABLE;
  if (HAL_TIM_PWM_ConfigChannel(&htim4, &sConfigOC, TIM_CHANNEL_1) != HAL_OK)
  {
    Error_Handler();
  }
  if (HAL_TIM_PWM_ConfigChannel(&htim4, &sConfigOC, TIM_CHANNEL_2) != HAL_OK)
  {
    Error_Handler();
  }
  if (HAL_TIM_PWM_ConfigChannel(&htim4, &sConfigOC, TIM_CHANNEL_3) != HAL_OK)
  {
    Error_Handler();
  }
  if (HAL_TIM_PWM_ConfigChannel(&htim4, &sConfigOC, TIM_CHANNEL_4) != HAL_OK)
  {
    Error_Handler();
  }
  HAL_TIM_MspPostInit(&htim4);

}

static void MX_TIM7_Init(void)
{

  TIM_MasterConfigTypeDef sMasterConfig = {0};

  htim7.Instance = TIM7;
  htim7.Init.Prescaler = 100;
  htim7.Init.CounterMode = TIM_COUNTERMODE_UP;
  htim7.Init.Period = 800;
  htim7.Init.AutoReloadPreload = TIM_AUTORELOAD_PRELOAD_DISABLE;
  if (HAL_TIM_Base_Init(&htim7) != HAL_OK)
  {
    Error_Handler();
  }
  sMasterConfig.MasterOutputTrigger = TIM_TRGO_RESET;
  sMasterConfig.MasterSlaveMode = TIM_MASTERSLAVEMODE_DISABLE;
  if (HAL_TIMEx_MasterConfigSynchronization(&htim7, &sMasterConfig) != HAL_OK)
  {
    Error_Handler();
  }

}

static void MX_TIM10_Init(void)
{

  htim10.Instance = TIM10;
  htim10.Init.Prescaler = 100;
  htim10.Init.CounterMode = TIM_COUNTERMODE_UP;
  htim10.Init.Period = 800;
  htim10.Init.ClockDivision = TIM_CLOCKDIVISION_DIV1;
  htim10.Init.AutoReloadPreload = TIM_AUTORELOAD_PRELOAD_DISABLE;
  if (HAL_TIM_Base_Init(&htim10) != HAL_OK)
  {
    Error_Handler();
  }

}

static void MX_TIM13_Init(void)
{

  htim13.Instance = TIM13;
  htim13.Init.Prescaler = 200;
  htim13.Init.CounterMode = TIM_COUNTERMODE_UP;
  htim13.Init.Period = 800;
  htim13.Init.ClockDivision = TIM_CLOCKDIVISION_DIV1;
  htim13.Init.AutoReloadPreload = TIM_AUTORELOAD_PRELOAD_DISABLE;
  if (HAL_TIM_Base_Init(&htim13) != HAL_OK)
  {
    Error_Handler();
  }

}

static void MX_TIM14_Init(void)
{

  htim14.Instance = TIM14;
  htim14.Init.Prescaler = 16;
  htim14.Init.CounterMode = TIM_COUNTERMODE_UP;
  htim14.Init.Period = 65535;
  htim14.Init.ClockDivision = TIM_CLOCKDIVISION_DIV1;
  htim14.Init.AutoReloadPreload = TIM_AUTORELOAD_PRELOAD_DISABLE;
  if (HAL_TIM_Base_Init(&htim14) != HAL_OK)
  {
    Error_Handler();
  }

}

static void MX_USART1_UART_Init(void)
{

  huart1.Instance = USART1;
  huart1.Init.BaudRate = 1000000;
  huart1.Init.WordLength = UART_WORDLENGTH_8B;
  huart1.Init.StopBits = UART_STOPBITS_1;
  huart1.Init.Parity = UART_PARITY_NONE;
  huart1.Init.Mode = UART_MODE_TX_RX;
  huart1.Init.HwFlowCtl = UART_HWCONTROL_NONE;
  huart1.Init.OverSampling = UART_OVERSAMPLING_16;
  if (HAL_UART_Init(&huart1) != HAL_OK)
  {
    Error_Handler();
  }

}

static void MX_GPIO_Init(void)
{
  GPIO_InitTypeDef GPIO_InitStruct = {0};

  /* GPIO Ports Clock Enable */
  __HAL_RCC_GPIOH_CLK_ENABLE();
  __HAL_RCC_GPIOC_CLK_ENABLE();
  __HAL_RCC_GPIOA_CLK_ENABLE();
  __HAL_RCC_GPIOB_CLK_ENABLE();

  /*Configure GPIO pin Output Level */
  HAL_GPIO_WritePin(GPIOC, GPIO_PIN_0|GPIO_PIN_1|GPIO_PIN_2|GPIO_PIN_3
                          |GPIO_PIN_5|GPIO_PIN_10|GPIO_PIN_11, GPIO_PIN_RESET);

  /*Configure GPIO pin Output Level */
  HAL_GPIO_WritePin(GPIOA, GPIO_PIN_4, GPIO_PIN_RESET);

  /*Configure GPIO pin Output Level */
  HAL_GPIO_WritePin(GPIOB, GPIO_PIN_12|GPIO_PIN_13|GPIO_PIN_14|GPIO_PIN_15
                          |GPIO_PIN_4, GPIO_PIN_RESET);

  /*Configure GPIO pins : PC0 PC1 PC2 PC3
                           PC5 PC10 PC11 */
  GPIO_InitStruct.Pin = GPIO_PIN_0|GPIO_PIN_1|GPIO_PIN_2|GPIO_PIN_3
                          |GPIO_PIN_5|GPIO_PIN_10|GPIO_PIN_11;
  GPIO_InitStruct.Mode = GPIO_MODE_OUTPUT_PP;
  GPIO_InitStruct.Pull = GPIO_NOPULL;
  GPIO_InitStruct.Speed = GPIO_SPEED_FREQ_LOW;
  HAL_GPIO_Init(GPIOC, &GPIO_InitStruct);

  /*Configure GPIO pin : PA4 */
  GPIO_InitStruct.Pin = GPIO_PIN_4;
  GPIO_InitStruct.Mode = GPIO_MODE_OUTPUT_PP;
  GPIO_InitStruct.Pull = GPIO_NOPULL;
  GPIO_InitStruct.Speed = GPIO_SPEED_FREQ_LOW;
  HAL_GPIO_Init(GPIOA, &GPIO_InitStruct);

  /*Configure GPIO pins : PB12 PB13 PB14 PB15
                           PB4 */
  GPIO_InitStruct.Pin = GPIO_PIN_12|GPIO_PIN_13|GPIO_PIN_14|GPIO_PIN_15
                          |GPIO_PIN_4;
  GPIO_InitStruct.Mode = GPIO_MODE_OUTPUT_PP;
  GPIO_InitStruct.Pull = GPIO_NOPULL;
  GPIO_InitStruct.Speed = GPIO_SPEED_FREQ_LOW;
  HAL_GPIO_Init(GPIOB, &GPIO_InitStruct);

  /*Configure GPIO pin : PC12 */
  GPIO_InitStruct.Pin = GPIO_PIN_12;
  GPIO_InitStruct.Mode = GPIO_MODE_IT_RISING;
  GPIO_InitStruct.Pull = GPIO_NOPULL;
  HAL_GPIO_Init(GPIOC, &GPIO_InitStruct);

}

void Error_Handler(void)
{
  __disable_irq();
  while (1)
  {
  }
}
